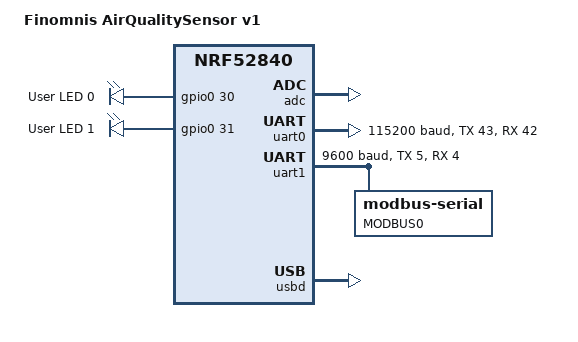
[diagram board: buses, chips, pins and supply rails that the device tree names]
/*
 * Copyright (c) 2021 Martin Stumpf
 *
 * SPDX-License-Identifier: Apache-2.0
 */

/dts-v1/;
#include <nordic/nrf52840_qiaa.dtsi>

/ {
	model = "Finomnis AirQualitySensor v1";
	compatible = "finomnis,airqualitysensor-v1";

	chosen {
		zephyr,console = &uart0;
		zephyr,shell-uart = &uart0;
		zephyr,uart-mcumgr = &uart0;
		zephyr,bt-mon-uart = &uart0;
		zephyr,bt-c2h-uart = &uart0;
		zephyr,sram = &sram0;
		zephyr,flash = &flash0;
		zephyr,code-partition = &slot0_partition;
	};

	leds {
		compatible = "gpio-leds";
		led0: led_0 {
			gpios = <&gpio0 30 GPIO_ACTIVE_HIGH>;
			label = "User LED 0";
		};
		led1: led_1 {
			gpios = <&gpio0 31 GPIO_ACTIVE_HIGH>;
			label = "User LED 1";
		};
	};

	/* These aliases are provided for compatibility with samples */
	aliases {
		led0 = &led0;
		led1 = &led1;
	};
};

&adc {
	status = "okay";
};

&gpiote {
	status = "okay";
};

&gpio0 {
	status = "okay";
};

&gpio1 {
	status = "okay";
};

&uart0 {
	compatible = "nordic,nrf-uarte";
	status = "okay";
	current-speed = <115200>;
	tx-pin = <43>;
	rx-pin = <42>;
};

&uart1 {
    status = "okay";
    tx-pin = <5>;
    rx-pin = <4>;
    current-speed = <9600>;

    s8modbus: modbus0 {
        compatible = "zephyr,modbus-serial";
        status = "okay";
        label = "MODBUS0";
    };
};

&flash0 {

	partitions {
		compatible = "fixed-partitions";
		#address-cells = <1>;
		#size-cells = <1>;

		boot_partition: partition@0 {
			label = "mcuboot";
			reg = <0x000000000 0x0000C000>;
		};
		slot0_partition: partition@c000 {
			label = "image-0";
			reg = <0x0000C000 0x00067000>;
		};
		slot1_partition: partition@73000 {
			label = "image-1";
			reg = <0x00073000 0x00067000>;
		};
		scratch_partition: partition@da000 {
			label = "image-scratch";
			reg = <0x000da000 0x0001e000>;
		};

		/*
		 * The flash starting at 0x000f8000 and ending at
		 * 0x000fffff is reserved for use by the application.
		 */

		/*
		 * Storage partition will be used by FCB/LittleFS/NVS
		 * if enabled.
		 */
		storage_partition: partition@f8000 {
			label = "storage";
			reg = <0x000f8000 0x00008000>;
		};
	};
};

&usbd {
	compatible = "nordic,nrf-usbd";
	status = "okay";
};
